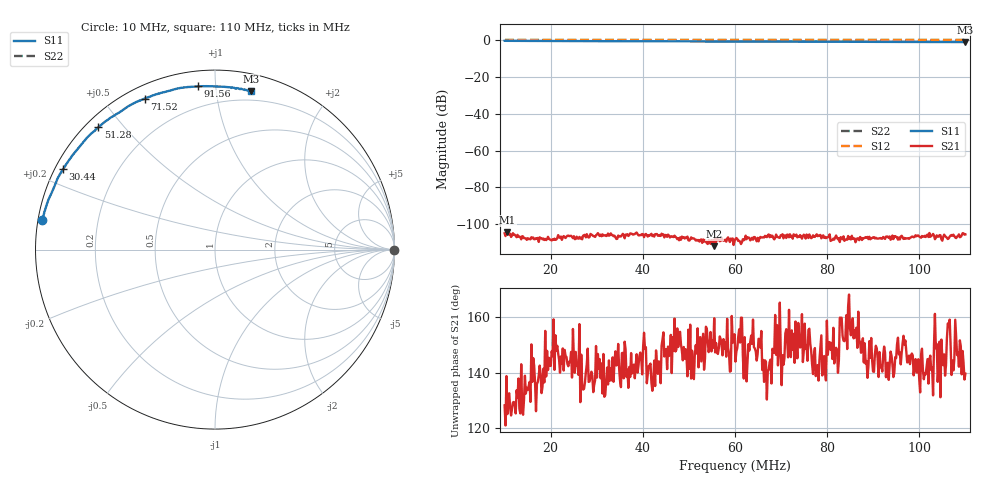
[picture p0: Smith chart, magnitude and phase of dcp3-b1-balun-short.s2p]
! Anritsu VNA Master:  Model: MS2034B/10/19/501
! SN:  1337062
! /bd0/ovro-jan-2016/dcp3-b1-balun-short.s2p
! Existing Calibration Information:
! TYPE:  Current Settings,  Active Cal Settings
! TIME:  01/14/2016 12:21:51 PM,  01/14/2016 12:01:10 PM
! INTERNAL TEMP:  43.8 C,  43.8 C
! # POINTS:  500,  500
! START FREQ:  10.000 MHz,  10.000 MHz
! STOP FREQ:  110.000 MHz,  110.000 MHz
! SOURCE POWER:  High,  High
! IFBW:  100 Hz,  100 Hz
! AVG FACTOR:  4 ,  4
! REF PLANE 1:  0 mm,  0 mm
! REF PLANE 2:  0 mm,  0 mm
! CAL TYPE:  Full S11,  Full S11
! CAL METHOD:  SOLT,  SOLT
! CAL LINE TYPE:  Coax,  Coax
! DUT PORT 1:  K-Conn(M),  K-Conn(M)
! DUT PORT 2:  N-Conn(M),  N-Conn(M)
! CAL STATUS:  OK: Accuracy High,  --
# GHZ S DB R 50.0
! FREQ.GHZ  S11DB  S11A  S21DB  S21A  S12DB  S12A  S22DB  S22A
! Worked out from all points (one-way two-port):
!   500 points, 10 MHz to 110 MHz, reference 50 ohm
!   highest |S21| = -104.52 dB at 10.6 MHz (marker M1); lowest = -112.0 dB at 55.49 MHz (marker M2)
!   lowest |S11| = -0.9 dB at 110 MHz (marker M3), VSWR 19.93, Z = 6.42 + j62.2 ohm
!   |S11| at or under -10 dB: nowhere
!   |S22| runs from 0.0 to 0.0 dB; largest |S21 - S12| = 1
!   S11 on the Smith chart (normalised r, x): 10 MHz: 0.01, +0.08; 30.44 MHz: 0.02, +0.25; 51.28 MHz: 0.04, +0.43; 71.52 MHz: 0.05, +0.64; 91.56 MHz: 0.08, +0.90; 110 MHz: 0.13, +1.24
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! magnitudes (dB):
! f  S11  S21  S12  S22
! 10 MHz  -0.2  -105.0  0.0  0.0
! 10.6 MHz  -0.2  -104.5  0.0  0.0
! 17.62 MHz  -0.3  -107.1  0.0  0.0
! 22.42 MHz  -0.3  -108.5  0.0  0.0
! 26.83 MHz  -0.3  -108.2  0.0  0.0
! 30.44 MHz  -0.4  -105.6  0.0  0.0
! 40.66 MHz  -0.5  -105.3  0.0  0.0
! 43.47 MHz  -0.5  -106.3  0.0  0.0
! 46.07 MHz  -0.5  -106.7  0.0  0.0
! 51.28 MHz  -0.5  -108.2  0.0  0.0
! 55.49 MHz  -0.5  -112.0  0.0  0.0
! 60.1 MHz  -0.6  -108.0  0.0  0.0
! 68.32 MHz  -0.6  -107.5  0.0  0.0
! 71.52 MHz  -0.6  -105.8  0.0  0.0
! 76.73 MHz  -0.7  -107.2  0.0  0.0
! 80.54 MHz  -0.7  -105.5  0.0  0.0
! 84.75 MHz  -0.7  -108.1  0.0  0.0
! 91.56 MHz  -0.8  -107.5  0.0  0.0
! 93.37 MHz  -0.8  -107.5  0.0  0.0
! 97.17 MHz  -0.8  -107.7  0.0  0.0
! 106.8 MHz  -0.8  -106.2  0.0  0.0
! 110 MHz  -0.9  -105.6  0.0  0.0
